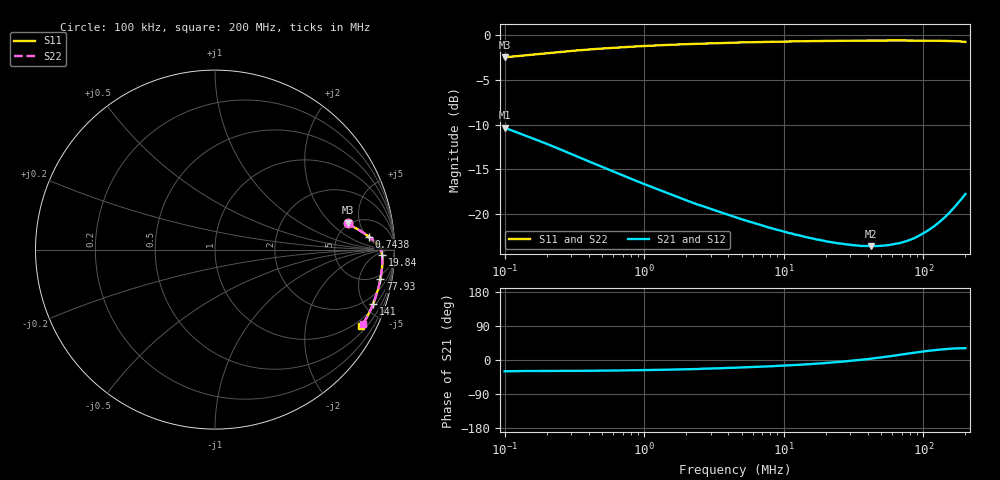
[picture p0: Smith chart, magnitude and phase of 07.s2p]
#  HZ  S  RI  R  50.00
! Rohde & Schwarz Vector Network Analyzer
! Rohde-Schwarz,ZNLE6-2Port,1323001256200024,1.71.1.10-23.02.1.238
! Created: UTC 4/11/2025, 7:16:32 AM
! freq[Hz]  re:S11  im:S11  re:S21  im:S21  re:S12  im:S12  re:S22  im:S22
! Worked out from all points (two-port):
!   1001 points, 100 kHz to 200 MHz, reference 50 ohm
!   highest |S21| = -10.34 dB at 100 kHz (marker M1); lowest = -23.6 dB at 42.1 MHz (marker M2)
!   |S21| within 3 dB of the highest: start of sweep to 306.5 kHz
!   lowest |S11| = -2.5 dB at 100 kHz (marker M3), VSWR 7.12, Z = 238 + j165 ohm
!   |S11| at or under -10 dB: nowhere
!   |S22| runs from -2.5 to -0.6 dB; largest |S21 - S12| = 0.0025
!   S11 on the Smith chart (normalised r, x): 100 kHz: 4.75, +3.30; 743.8 kHz: 10, +6; 19.84 MHz: 24, -10; 77.93 MHz: 4, -10; 141 MHz: 1.26, -5.74; 200 MHz: 0.73, -3.96
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100000  0.7386 0.1501  0.2638 -0.151  0.2641 -0.151  0.7383 0.1499
190804  0.7822 0.1203  0.2196 -0.1212  0.2198 -0.1213  0.7819 0.1203
355854.1  0.8216 0.0971  0.1799 -0.0981  0.18 -0.0982  0.8215 0.0971
743827  0.8579 0.0723  0.1434 -0.0743  0.1435 -0.0744  0.8576 0.0724
1266322  0.8779 0.057  0.1229 -0.0601  0.1229 -0.0602  0.8777 0.0571
2397897  0.8965 0.0407  0.1035 -0.0457  0.1036 -0.0457  0.8964 0.0407
4472136  0.9107 0.0246  0.0901 -0.0335  0.0897 -0.0342  0.9106 0.0253
8796434  0.922 0.0053  0.0787 -0.0222  0.0785 -0.024  0.9218 0.00712
1.591428e7  0.9287 -0.016  0.0718 -0.0134  0.0716 -0.014  0.9288 -0.0147
1.983887e7  0.9306 -0.0273  0.0697 -0.00972  0.0695 -0.0112  0.9306 -0.0251
2.750814e7  0.9323 -0.0462  0.0676 -0.00435  0.0675 -0.00474  0.9324 -0.0444
3.616581e7  0.9324 -0.0683  0.0662 0.000964  0.0661 -0.00052  0.9327 -0.065
4.210356e7  0.9321 -0.0828  0.0659 0.00411  0.0661 0.00221  0.9323 -0.0787
5.663162e7  0.929 -0.1161  0.0661 0.0112  0.0661 0.00995  0.9297 -0.1116
6.848331e7  0.9254 -0.1437  0.0668 0.0167  0.0674 0.0146  0.9262 -0.1377
7.792957e7  0.9216 -0.164  0.0679 0.0208  0.0682 0.0193  0.9226 -0.1584
8.86788e7  0.9168 -0.1875  0.0695 0.0255  0.07 0.0239  0.9179 -0.1815
1.056193e8  0.9075 -0.2242  0.0732 0.0322  0.0738 0.0306  0.9092 -0.2176
1.229601e8  0.8958 -0.2617  0.0778 0.0387  0.0784 0.0371  0.8982 -0.2548
1.409882e8  0.8813 -0.3018  0.0836 0.0455  0.0842 0.0439  0.8846 -0.2932
1.692027e8  0.854 -0.3626  0.0952 0.0561  0.0962 0.0541  0.859 -0.3522
2e8  0.8148 -0.4244  0.1106 0.0671  0.1122 0.0653  0.8231 -0.4134
